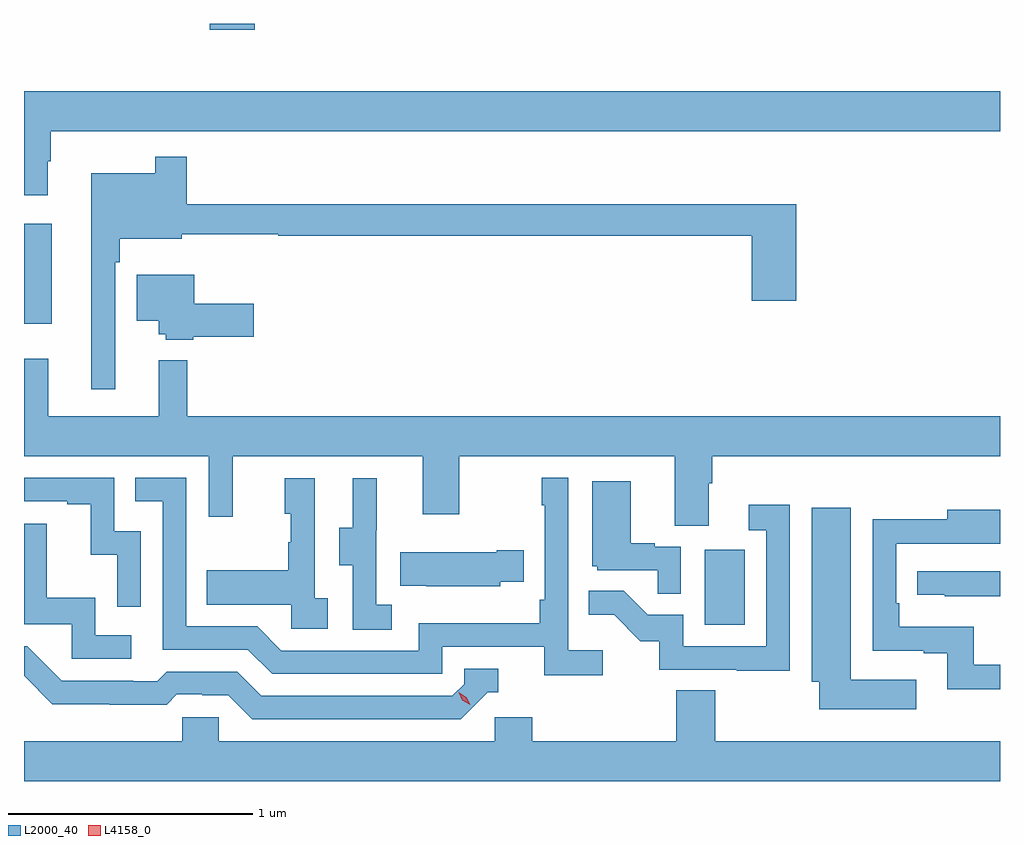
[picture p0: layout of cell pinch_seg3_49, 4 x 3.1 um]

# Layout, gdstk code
import gdstk
lib = gdstk.Library(unit=1e-6, precision=1e-09)
def R(c, l, rs):  # rectangles x0, y0, x1, y1
    for r in rs: c.add(gdstk.rectangle(r[:2], r[2:], *l))
def P(c, l, *ps):  # polygons
    for p in ps: c.add(gdstk.Polygon(p, *l))
L2000_40 = (2000, 40)
L4158_0 = (4158, 0)

pinch_seg3_49 = lib.new_cell('pinch_seg3_49')
R(pinch_seg3_49, L2000_40, [(1058.912,741.516,1059.076,741.823), (1056.122,742.751,1056.235,743.161), (1056.884,743.955,1057.067,743.979)])
P(pinch_seg3_49, L2000_40, [(1056.22,743.417),(1056.232,743.417),(1056.232,743.54),(1060.122,743.54),(1060.122,743.704),(1056.122,743.704),(1056.122,743.277),(1056.22,743.277)],
  [(1056.495,743.003),(1056.515,743.003),(1056.515,743.099),(1056.769,743.099),(1056.769,743.118),(1057.165,743.118),(1057.165,743.11),(1059.104,743.11),(1059.104,742.845),(1059.287,742.845),(1059.287,743.239),(1056.788,743.239),(1056.788,743.434),(1056.66,743.434),(1056.66,743.368),(1056.398,743.368),(1056.398,742.482),(1056.495,742.482)],
  [(1056.816,742.696),(1057.063,742.696),(1057.063,742.833),(1056.82,742.833),(1056.82,742.951),(1056.584,742.951),(1056.584,742.763),(1056.674,742.763),(1056.674,742.707),(1056.702,742.707),(1056.702,742.685),(1056.816,742.685)],
  [(1058.929,742.096),(1058.942,742.096),(1058.942,742.208),(1060.122,742.208),(1060.122,742.372),(1056.791,742.372),(1056.791,742.6),(1056.674,742.6),(1056.674,742.372),(1056.221,742.372),(1056.221,742.606),(1056.122,742.606),(1056.122,742.208),(1056.879,742.208),(1056.879,741.96),(1056.977,741.96),(1056.977,742.208),(1057.757,742.208),(1057.757,741.969),(1057.905,741.969),(1057.905,742.208),(1058.789,742.208),(1058.789,741.922),(1058.929,741.922)],
  [(1058.494,741.412),(1058.352,741.412),(1058.352,742.12),(1058.244,742.12),(1058.244,742.007),(1058.256,742.007),(1058.256,741.619),(1058.236,741.619),(1058.236,741.523),(1057.74,741.523),(1057.74,741.411),(1057.176,741.411),(1057.077,741.51),(1056.786,741.51),(1056.786,742.119),(1056.577,742.119),(1056.577,742.023),(1056.69,742.023),(1056.69,741.414),(1057.04,741.414),(1057.139,741.315),(1057.836,741.315),(1057.836,741.426),(1058.255,741.426),(1058.255,741.31),(1058.494,741.31)],
  [(1056.6,741.9),(1056.492,741.9),(1056.492,742.119),(1056.122,742.119),(1056.122,742.023),(1056.299,742.023),(1056.299,742.011),(1056.395,742.011),(1056.395,741.803),(1056.504,741.803),(1056.504,741.591),(1056.6,741.591)],
  [(1057.63,741.599),(1057.566,741.599),(1057.566,741.903),(1057.568,741.903),(1057.568,742.117),(1057.469,742.117),(1057.469,741.915),(1057.415,741.915),(1057.415,741.76),(1057.47,741.76),(1057.47,741.496),(1057.63,741.496)],
  [(1057.366,741.626),(1057.314,741.626),(1057.314,742.117),(1057.19,742.117),(1057.19,741.972),(1057.216,741.972),(1057.216,741.854),(1057.206,741.854),(1057.206,741.739),(1056.871,741.739),(1056.871,741.599),(1057.218,741.599),(1057.218,741.501),(1057.366,741.501)],
  [(1058.814,741.837),(1058.708,741.837),(1058.708,741.85),(1058.608,741.85),(1058.608,742.105),(1058.45,742.105),(1058.45,741.756),(1058.472,741.756),(1058.472,741.741),(1058.719,741.741),(1058.719,741.643),(1058.814,741.643)],
  [(1059.261,742.009),(1059.093,742.009),(1059.093,741.903),(1059.165,741.903),(1059.165,741.429),(1058.823,741.429),(1058.823,741.558),(1058.679,741.558),(1058.581,741.656),(1058.437,741.656),(1058.437,741.557),(1058.541,741.557),(1058.648,741.45),(1058.725,741.45),(1058.725,741.333),(1059.043,741.333),(1059.043,741.328),(1059.261,741.328)],
  [(1059.778,741.292),(1059.511,741.292),(1059.511,741.997),(1059.35,741.997),(1059.35,741.284),(1059.382,741.284),(1059.382,741.17),(1059.778,741.17)],
  [(1060.122,741.353),(1060.015,741.353),(1060.015,741.508),(1059.71,741.508),(1059.71,741.604),(1059.696,741.604),(1059.696,741.849),(1060.009,741.849),(1060.009,741.848),(1060.122,741.848),(1060.122,741.988),(1059.905,741.988),(1059.905,741.95),(1059.6,741.95),(1059.6,741.411),(1059.809,741.411),(1059.809,741.399),(1059.906,741.399),(1059.906,741.252),(1060.122,741.252)],
  [(1056.562,741.474),(1056.414,741.474),(1056.414,741.628),(1056.215,741.628),(1056.215,741.931),(1056.122,741.931),(1056.122,741.519),(1056.318,741.519),(1056.318,741.378),(1056.562,741.378)],
  [(1058.073,741.692),(1058.171,741.692),(1058.171,741.822),(1058.06,741.822),(1058.06,741.814),(1057.663,741.814),(1057.663,741.677),(1057.771,741.677),(1057.771,741.674),(1058.073,741.674)],
  [(1060.122,741.735),(1059.783,741.735),(1059.783,741.639),(1059.895,741.639),(1059.895,741.634),(1060.122,741.634)],
  [(1058.022,741.24),(1058.065,741.24),(1058.065,741.336),(1057.926,741.336),(1057.926,741.273),(1057.878,741.225),(1057.095,741.225),(1056.996,741.324),(1056.707,741.324),(1056.668,741.285),(1056.569,741.285),(1056.569,741.288),(1056.276,741.288),(1056.135,741.429),(1056.122,741.429),(1056.122,741.307),(1056.238,741.191),(1056.474,741.191),(1056.474,741.189),(1056.707,741.189),(1056.749,741.231),(1056.852,741.231),(1056.852,741.228),(1056.959,741.228),(1057.058,741.129),(1057.911,741.129)],
  [(1060.122,741.04),(1058.955,741.04),(1058.955,741.248),(1058.795,741.248),(1058.795,741.04),(1058.204,741.04),(1058.204,741.138),(1058.052,741.138),(1058.052,741.04),(1056.921,741.04),(1056.921,741.138),(1056.771,741.138),(1056.771,741.04),(1056.122,741.04),(1056.122,740.876),(1060.122,740.876)])
P(pinch_seg3_49, L4158_0, [(1057.95,741.188),(1057.919,741.207),(1057.903,741.239),(1057.903,741.24),(1057.903,741.24),(1057.934,741.22),(1057.95,741.188),(1057.95,741.188)])

lib.write_gds('pinch_seg3_49.gds')
